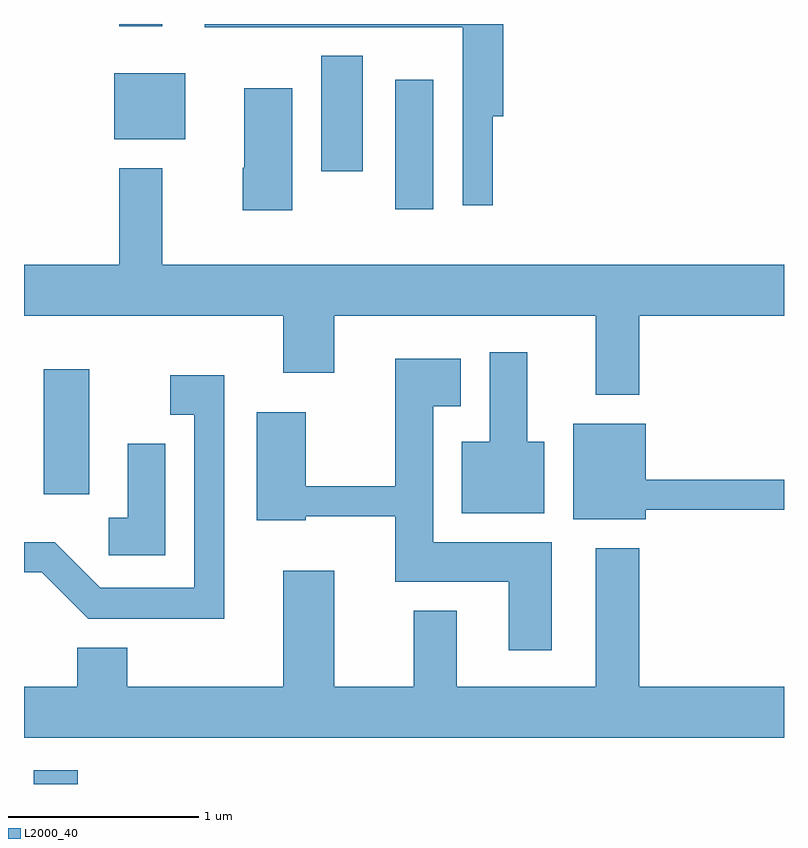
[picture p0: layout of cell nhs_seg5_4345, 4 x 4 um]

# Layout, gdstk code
import gdstk
lib = gdstk.Library(unit=1e-6, precision=1e-09)
def R(c, l, rs):  # rectangles x0, y0, x1, y1
    for r in rs: c.add(gdstk.rectangle(r[:2], r[2:], *l))
def P(c, l, *ps):  # polygons
    for p in ps: c.add(gdstk.Polygon(p, *l))
L2000_40 = (2000, 40)

nhs_seg5_4345 = lib.new_cell('nhs_seg5_4345')
R(nhs_seg5_4345, L2000_40, [(313.661,1492.072,313.894,1492.144), (313.716,1493.596,313.954,1494.254), (315.566,1495.096,315.764,1495.779), (315.176,1495.296,315.394,1495.904), (314.086,1495.466,314.459,1495.814), (314.111,1496.061,314.339,1496.072)])
P(nhs_seg5_4345, L2000_40, [(316.079,1495.586),(316.134,1495.586),(316.134,1496.072),(314.563,1496.072),(314.563,1496.056),(315.921,1496.056),(315.921,1495.118),(316.079,1495.118)],
  [(315.024,1495.734),(314.771,1495.734),(314.771,1495.315),(314.761,1495.315),(314.761,1495.091),(315.024,1495.091)],
  [(316.849,1494.536),(317.611,1494.536),(317.611,1494.804),(314.339,1494.804),(314.339,1495.314),(314.111,1495.314),(314.111,1494.804),(313.611,1494.804),(313.611,1494.536),(314.976,1494.536),(314.976,1494.236),(315.244,1494.236),(315.244,1494.536),(316.621,1494.536),(316.621,1494.121),(316.849,1494.121)],
  [(316.349,1493.874),(316.259,1493.874),(316.259,1494.344),(316.061,1494.344),(316.061,1493.874),(315.916,1493.874),(315.916,1493.496),(316.349,1493.496)],
  [(316.389,1493.344),(315.764,1493.344),(315.764,1494.061),(315.909,1494.061),(315.909,1494.309),(315.566,1494.309),(315.566,1493.639),(315.094,1493.639),(315.094,1494.029),(314.836,1494.029),(314.836,1493.461),(315.094,1493.461),(315.094,1493.481),(315.566,1493.481),(315.566,1493.136),(316.161,1493.136),(316.161,1492.776),(316.389,1492.776)],
  [(314.664,1494.224),(314.381,1494.224),(314.381,1494.016),(314.506,1494.016),(314.506,1493.104),(314.012,1493.104),(313.772,1493.344),(313.611,1493.344),(313.611,1493.186),(313.704,1493.186),(313.949,1492.941),(314.664,1492.941)],
  [(316.884,1493.516),(317.611,1493.516),(317.611,1493.674),(316.884,1493.674),(316.884,1493.969),(316.501,1493.969),(316.501,1493.466),(316.884,1493.466)],
  [(314.354,1493.864),(314.156,1493.864),(314.156,1493.474),(314.056,1493.474),(314.056,1493.276),(314.354,1493.276)],
  [(317.611,1492.584),(316.849,1492.584),(316.849,1493.314),(316.621,1493.314),(316.621,1492.584),(315.889,1492.584),(315.889,1492.984),(315.661,1492.984),(315.661,1492.584),(315.244,1492.584),(315.244,1493.194),(314.976,1493.194),(314.976,1492.584),(314.154,1492.584),(314.154,1492.789),(313.891,1492.789),(313.891,1492.584),(313.611,1492.584),(313.611,1492.316),(317.611,1492.316)])

lib.write_gds('nhs_seg5_4345.gds')
